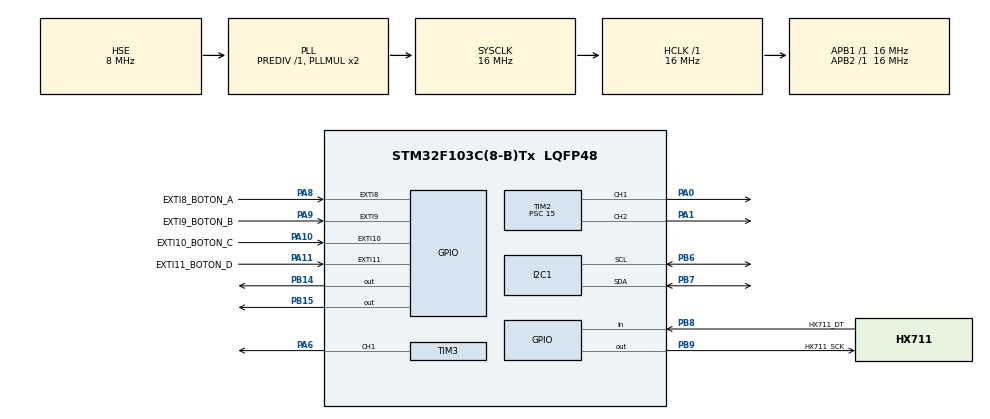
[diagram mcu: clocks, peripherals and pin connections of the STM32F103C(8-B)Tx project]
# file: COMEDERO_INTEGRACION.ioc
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Mcu.Family=STM32F1
Mcu.Name=STM32F103C(8-B)Tx
Mcu.Package=LQFP48
NVIC.EXTI15_10_IRQn=true\:1\:0\:true\:false\:true\:true\:true\:true
NVIC.EXTI9_5_IRQn=true\:1\:0\:true\:false\:true\:true\:true\:true
NVIC.PriorityGroup=NVIC_PRIORITYGROUP_4
NVIC.RTC_Alarm_IRQn=true\:1\:0\:true\:false\:true\:true\:true\:true
PA0-WKUP.Signal=S_TIM2_CH1_ETR
PA1.Signal=S_TIM2_CH2
PA10.GPIO_Label=EXTI10_BOTON_C
PA10.Signal=GPXTI10
PA11.GPIO_Label=EXTI11_BOTON_D
PA11.Signal=GPXTI11
PA13.Mode=Serial_Wire
PA13.Signal=SYS_JTMS-SWDIO
PA14.Mode=Serial_Wire
PA14.Signal=SYS_JTCK-SWCLK
PA6.Signal=S_TIM3_CH1
PA8.GPIO_Label=EXTI8_BOTON_A
PA8.GPIO_ModeDefaultEXTI=GPIO_MODE_IT_FALLING
PA8.Signal=GPXTI8
PA9.GPIO_Label=EXTI9_BOTON_B
PA9.GPIO_ModeDefaultEXTI=GPIO_MODE_IT_FALLING
PA9.Signal=GPXTI9
PB14.Signal=GPIO_Output
PB15.Signal=GPIO_Output
PB6.Mode=I2C
PB6.Signal=I2C1_SCL
PB7.Mode=I2C
PB7.Signal=I2C1_SDA
PB8.GPIO_Label=HX711_DT
PB8.Signal=GPIO_Input
PB9.GPIO_Label=HX711_SCK
PB9.Signal=GPIO_Output
PD0-OSC_IN.Mode=HSE-External-Oscillator
PD0-OSC_IN.Signal=RCC_OSC_IN
PD1-OSC_OUT.Mode=HSE-External-Oscillator
PD1-OSC_OUT.Signal=RCC_OSC_OUT
ProjectManager.HeapSize=0x200
ProjectManager.StackSize=0x400
ProjectManager.TargetToolchain=STM32CubeIDE
RCC.AHBFreq_Value=16000000
RCC.APB1Freq_Value=16000000
RCC.APB1TimFreq_Value=16000000
RCC.APB2Freq_Value=16000000
RCC.APB2TimFreq_Value=16000000
RCC.HCLKFreq_Value=16000000
RCC.PLLSourceVirtual=RCC_PLLSOURCE_HSE
RCC.SYSCLKFreq_VALUE=16000000
RCC.SYSCLKSource=RCC_SYSCLKSOURCE_PLLCLK
RCC.USBFreq_Value=16000000
SH.S_TIM2_CH1_ETR.0=TIM2_CH1,PWM Generation1 CH1
SH.S_TIM2_CH2.0=TIM2_CH2,PWM Generation2 CH2
SH.S_TIM3_CH1.0=TIM3_CH1,PWM Generation1 CH1
TIM2.Channel-PWM\ Generation1\ CH1=TIM_CHANNEL_1
TIM2.Channel-PWM\ Generation2\ CH2=TIM_CHANNEL_2
TIM2.Prescaler=15
TIM3.Channel-PWM\ Generation1\ CH1=TIM_CHANNEL_1
TIM3.Prescaler=15
VP_RTC_VS_RTC_Activate.Mode=RTC_Enabled
VP_RTC_VS_RTC_Calendar.Mode=RTC_Calendar
VP_TIM2_VS_ClockSourceINT.Mode=Internal
board=custom

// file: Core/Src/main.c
/* USER CODE BEGIN Header */
/**
  ******************************************************************************
  * @file           : main.c
  * @brief          : Main program body
  ******************************************************************************
  * @attention
  *
  * Copyright (c) 2025 STMicroelectronics.
  * All rights reserved.
  *
  * This software is licensed under terms that can be found in the LICENSE file
  * in the root directory of this software component.
  * If no LICENSE file comes with this software, it is provided AS-IS.
  *
  ******************************************************************************
  */
/* USER CODE END Header */
#include "main.h"

/* USER CODE BEGIN Includes */
#include "DC_MOTOR.h"
#include "I2C_LCD.h"
#include "HX711.h"
#include "BOTONES.h"
#include "SERVO.h"
/* USER CODE END Includes */

/* USER CODE BEGIN PD */
#define SERVO_PUERTA 0
#define SERVO_ABIERTO 180
#define SERVO_CERRADO 25
/* USER CODE END PD */

I2C_HandleTypeDef hi2c1;

RTC_HandleTypeDef hrtc;

TIM_HandleTypeDef htim2;
TIM_HandleTypeDef htim3;

/* USER CODE BEGIN PV */
Boton_HandlerTypeDef hbA;
Boton_HandlerTypeDef hbB;
Boton_HandlerTypeDef hbC;
Boton_HandlerTypeDef hbD;

hx711_t scale;

estado estados = ESTADO_INICIANDO;
Motor_speeds velocidad_motor = NORMAL_SPEED;

RTC_TimeTypeDef displayTime;
RTC_TimeTypeDef rtcTime;

flag flag_debug = FLAG_INACTIVA;

flag flag_iniciar_motor = FLAG_INACTIVA;
flag flag_detener_motor = FLAG_INACTIVA;
flag flag_boton_a_presionado = FLAG_INACTIVA;
flag flag_boton_b_presionado = FLAG_INACTIVA;
flag flag_boton_c_presionado = FLAG_INACTIVA;
flag flag_boton_d_presionado = FLAG_INACTIVA;
flag flag_cambiar_hora = FLAG_INACTIVA;
flag flag_alarma_activada = FLAG_INACTIVA;
flag flag_cerrar_puerta = FLAG_INACTIVA;
flag flag_contador = FLAG_INACTIVA;
flag flag_paleta_atascada = FLAG_INACTIVA;

/* USER CODE END PV */

void SystemClock_Config(void);
static void MX_GPIO_Init(void);
static void MX_TIM2_Init(void);
static void MX_RTC_Init(void);
static void MX_I2C1_Init(void);
static void MX_TIM3_Init(void);

int main(void)
{

  /* USER CODE BEGIN 1 */

  subestados_menus estado_menu = CONFIGURACION_IDLE;
  int32_t dosis_objetivo = 0;
  uint8_t contador = 0;
  int32_t peso_anterior = 0;
  uint8_t dir_motor = DIR_CW;
  /* USER CODE END 1 */

  /* MCU Configuration--------------------------------------------------------*/

  /* Reset of all peripherals, Initializes the Flash interface and the Systick. */
  HAL_Init();

  /* Configure the system clock */
  SystemClock_Config();

  /* Initialize all configured peripherals */
  MX_GPIO_Init();
  MX_TIM2_Init();
  MX_RTC_Init();
  MX_I2C1_Init();
  MX_TIM3_Init();
  /* USER CODE BEGIN 2 */
  DC_MOTOR_Init(MOTOR_DOSIFICADOR);
  SERVO_Init(SERVO_PUERTA);
  SERVO_Timer3_Init_1usTicks();

  I2C_LCD_Init(I2C_LCD_1);
  Boton_init(&hbA, EXTI8_BOTON_A_GPIO_Port, EXTI8_BOTON_A_Pin);
  Boton_init(&hbB, EXTI9_BOTON_B_GPIO_Port, EXTI9_BOTON_B_Pin);
  Boton_init(&hbC, EXTI10_BOTON_C_GPIO_Port, EXTI10_BOTON_C_Pin);
  Boton_init(&hbD, EXTI11_BOTON_D_GPIO_Port, EXTI11_BOTON_D_Pin);

  HX711_Construct(&scale, GPIOB, GPIO_PIN_8, GPIOB, GPIO_PIN_9, &htim2, 1000);
  HX711_InitPins(&scale);

  scale.tare = 101362;
  scale.known_counts_per_mg = 385;

  I2C_LCD_SetCursor(I2C_LCD_1, 0, 0);
  I2C_LCD_WriteString(I2C_LCD_1, "AAA");

  HAL_RTC_GetTime(&hrtc, &displayTime, RTC_FORMAT_BIN);
  HAL_RTC_GetTime(&hrtc, &rtcTime, RTC_FORMAT_BIN);

  //SERVO_MoveTo(SERVO_PUERTA, 180);
  /* USER CODE END 2 */

  /* Infinite loop */
  /* USER CODE BEGIN WHILE */
  estados = ESTADO_IDLE;
  flag_debug = FLAG_INACTIVA;

  SERVO_MoveTo(SERVO_PUERTA, SERVO_ABIERTO);

  I2C_LCD_SetCursor(I2C_LCD_1, 0, 0);
  I2C_LCD_WriteString(I2C_LCD_1, "Hora actual:");
  I2C_LCD_SetCursor(I2C_LCD_1, 0, 2);
  I2C_LCD_WriteString(I2C_LCD_1, "A: Configuracion");
  I2C_LCD_SetCursor(I2C_LCD_1, 0, 3);
  I2C_LCD_WriteString(I2C_LCD_1, "B: Agregar comida");
  // uint16_t PULSE = SERVO_Get_MinPulse(SERVO_NUM); // 22528
  // PULSE = SERVO_Get_MaxPulse(SERVO_NUM); // 16384

  while (1)
  {

	HX711_Process(&scale);
	  // Revisar y setear flags.
	HAL_RTC_GetTime(&hrtc, &rtcTime, RTC_FORMAT_BIN);
	if(displayTime.Seconds != rtcTime.Seconds)
	{
		flag_cambiar_hora = FLAG_ACTIVA;
	}

	if(hbA.FLAG_EVENTO == 1)
	{
		hbA.FLAG_EVENTO = 0;
		flag_boton_a_presionado = FLAG_ACTIVA;
	}

	if(hbB.FLAG_EVENTO == 1)
	{
		hbB.FLAG_EVENTO = 0;
		flag_boton_b_presionado = FLAG_ACTIVA;
	}

	if(hbC.FLAG_EVENTO == 1)
	{
		hbC.FLAG_EVENTO = 0;
		flag_boton_c_presionado = FLAG_ACTIVA;
	}

	if(hbD.FLAG_EVENTO == 1)
	{
		hbD.FLAG_EVENTO = 0;
		flag_boton_d_presionado = FLAG_ACTIVA;
	}

	if(flag_alarma_activada)
	{
		flag_iniciar_motor = FLAG_ACTIVA;
		flag_alarma_activada = FLAG_INACTIVA;
	}

	if(estados == ESTADO_DOSIFICANDO_ALIMENTO) // polling :(
	{
		int32_t temp = peso_anterior;
		peso_anterior = HX711_WeighBlocking(&scale);
		if(temp + 6000 >= peso_anterior && temp - 6000 <= peso_anterior)
		{
			contador++;
		}else if(flag_paleta_atascada)
		{
			flag_paleta_atascada = FLAG_INACTIVA;
		}

		if( peso_anterior >= dosis_objetivo * 1000)
		{
			flag_detener_motor = FLAG_ACTIVA;
		}
	}

	if(contador >= 10)
	{
		flag_contador = FLAG_ACTIVA;
	}

	if(estados == ESTADO_ALIMENTO_SERVIDO && displayTime.Minutes >= 3)
	{
		if(HX711_WeighBlocking(&scale) <= 0 || displayTime.Minutes >= 10)
		{
			flag_cerrar_puerta = FLAG_ACTIVA;
		}

	}

    /* USER CODE END WHILE */

    /* USER CODE BEGIN 3 */

	  // Maquina de estados.

	  switch(estados)
	  {
	  	  case ESTADO_IDLE:
	  		  if(flag_debug)
	  		  {
	  			  estados = ESTADO_DEBUG;
	  			  flag_debug = FLAG_INACTIVA;
	  		  }

	  		  if(flag_iniciar_motor)
	  		  {
	  			  estados = ESTADO_DOSIFICANDO_ALIMENTO;
	  			  velocidad_motor = LOW_SPEED;
	  			  DC_MOTOR_Start(MOTOR_DOSIFICADOR, dir_motor, velocidad_motor);
	  			  SERVO_MoveTo(SERVO_PUERTA, SERVO_CERRADO);
	  			  I2C_LCD_Clear(I2C_LCD_1);
	  			  I2C_LCD_SetCursor(I2C_LCD_1, 0, 0);
	  			  I2C_LCD_WriteString(I2C_LCD_1, "Sirviendo");
	  			  I2C_LCD_SetCursor(I2C_LCD_1, 0, 1);
	  			  I2C_LCD_WriteString(I2C_LCD_1, "alimento...");
	  			  I2C_LCD_SetCursor(I2C_LCD_1, 0, 2);
	  			  I2C_LCD_WriteString(I2C_LCD_1, "A: Detener");

	  			  flag_iniciar_motor = FLAG_INACTIVA;
	  		  }

	  		  if(flag_cambiar_hora)
	  		  {
	  			  displayTime = rtcTime;
	  			  I2C_LCD_WriteTime(I2C_LCD_1, displayTime);
	  			  flag_cambiar_hora = FLAG_INACTIVA;
	  		  }

	  		  if(flag_boton_a_presionado) // LISTO
	  		  {
	  			  estados = ESTADO_CONFIGURACION;
	  			  estado_menu = CONFIGURACION_IDLE;
	  			  flag_boton_a_presionado = FLAG_INACTIVA;
	  			  I2C_LCD_Clear(I2C_LCD_1);
	  			  I2C_LCD_SetCursor(I2C_LCD_1, 0, 0);
	  			  I2C_LCD_WriteString(I2C_LCD_1, "A: Cambiar hora.");
	  			  I2C_LCD_SetCursor(I2C_LCD_1, 0, 1);
	  			  I2C_LCD_WriteString(I2C_LCD_1, "B: Regular balanza.");
	  			  I2C_LCD_SetCursor(I2C_LCD_1, 0, 2);
	  			  I2C_LCD_WriteString(I2C_LCD_1, "C: Probar motor.");
	  			  I2C_LCD_SetCursor(I2C_LCD_1, 0, 3);
	  			  I2C_LCD_WriteString(I2C_LCD_1, "D: Siguiente");
	  		  }

	  		  if(flag_boton_b_presionado) // LISTO?
	  		  {
	  			  estados = ESTADO_AGREGAR_ALIMENTO;
	  			  flag_boton_b_presionado = FLAG_INACTIVA;
	  			  estado_menu = AGREGAR_TIEMPO;
	  			  I2C_LCD_Clear(I2C_LCD_1);
	  			  I2C_LCD_SetCursor(I2C_LCD_1, 0, 0);
	  			  I2C_LCD_WriteString(I2C_LCD_1, "Hora objetivo:");
	  			  I2C_LCD_WriteTime(I2C_LCD_1, displayTime);
	  			  I2C_LCD_SetCursor(I2C_LCD_1, 0, 2);
	  			  I2C_LCD_WriteString(I2C_LCD_1, "A: +1m | B: -1m");
	  			  I2C_LCD_SetCursor(I2C_LCD_1, 0, 3);
	  			  I2C_LCD_WriteString(I2C_LCD_1, "C: Escala | D: ->");
	  		  }

	  		  break;
	  	  case ESTADO_AGREGAR_ALIMENTO:
	  		  switch(estado_menu)
	  		  {
	  		  case AGREGAR_IDLE:
	  			  break;
	  		  case AGREGAR_TIEMPO:
	  			  if(flag_boton_a_presionado)
	  			  {
	  				if(displayTime.Minutes < 59)
	  				{
	  					displayTime.Minutes++;
	  				}else if(displayTime.Hours < 23)
	  				{
	  					displayTime.Minutes = 0;
	  					displayTime.Hours++;
	  				}else{
	  					displayTime.Minutes = 0;
	  					displayTime.Hours = 0;
	  				}
	  				I2C_LCD_WriteTime(I2C_LCD_1, displayTime);
	  				flag_boton_a_presionado = FLAG_INACTIVA;
	  			  }
	  			  if(flag_boton_b_presionado)
	  			  {
	  				if(displayTime.Minutes > 0)
	  				{
	  					displayTime.Minutes--;
	  				}else if(displayTime.Hours > 0)
	  				{
	  					displayTime.Minutes = 59;
	  					displayTime.Hours--;
	  				}else
	  				{
	  					displayTime.Minutes = 59;
	  					displayTime.Hours = 23;
	  				}
	  				I2C_LCD_WriteTime(I2C_LCD_1, displayTime);
	  				flag_boton_b_presionado = FLAG_INACTIVA;
	  			  }
	  			  if(flag_boton_c_presionado)
	  			  {
	  				  I2C_LCD_Clear(I2C_LCD_1);
		  			  I2C_LCD_SetCursor(I2C_LCD_1, 0, 0);
		  			  I2C_LCD_WriteString(I2C_LCD_1, "Hora objetivo:");
		  			  I2C_LCD_WriteTime(I2C_LCD_1, displayTime);
		  			  I2C_LCD_SetCursor(I2C_LCD_1, 0, 2);
		  			  I2C_LCD_WriteString(I2C_LCD_1, "A: +1h | B: -1h");
		  			  I2C_LCD_SetCursor(I2C_LCD_1, 0, 3);
		  			  I2C_LCD_WriteString(I2C_LCD_1, "C: Escala | D: ->");
		  			  estado_menu = AGREGAR_TIEMPO_HORAS;
	  				  flag_boton_c_presionado = FLAG_INACTIVA;
	  			  }
	  			  if(flag_boton_d_presionado)
	  			  {
	  				  dosis_objetivo = 0;
	  				  I2C_LCD_Clear(I2C_LCD_1);
	  				  I2C_LCD_SetCursor(I2C_LCD_1, 0, 0);
	  				  I2C_LCD_WriteString(I2C_LCD_1, "Dosis objetivo:");
	  				  I2C_LCD_SetCursor(I2C_LCD_1, 0, 1);
	  				  I2C_LCD_WriteString(I2C_LCD_1, "0 mg");
		  			  I2C_LCD_SetCursor(I2C_LCD_1, 0, 2);
		  			  I2C_LCD_WriteString(I2C_LCD_1, "A: +22g | B: -22g");
		  			  I2C_LCD_SetCursor(I2C_LCD_1, 0, 3);
		  			  I2C_LCD_WriteString(I2C_LCD_1, "C: <- | D: ->");
	  				  estado_menu = AGREGAR_DOSIS;
	  				  flag_boton_d_presionado = FLAG_INACTIVA;
	  			  }
	  			  break;
	  		  case AGREGAR_TIEMPO_HORAS:
	  			  if(flag_boton_a_presionado)
	  			  {
	  				if(displayTime.Hours < 23)
	  				{
	  					displayTime.Hours++;
	  				}else{
	  					displayTime.Hours = 0;
	  				}
	  				I2C_LCD_WriteTime(I2C_LCD_1, displayTime);
	  				flag_boton_a_presionado = FLAG_INACTIVA;
	  			  }
	  			  if(flag_boton_b_presionado)
	  			  {
	  				if(displayTime.Hours > 0)
	  				{
	  					displayTime.Hours--;
	  				}else
	  				{
	  					displayTime.Hours = 23;
	  				}
	  				I2C_LCD_WriteTime(I2C_LCD_1, displayTime);
	  				flag_boton_b_presionado = FLAG_INACTIVA;
	  			  }
	  			  if(flag_boton_c_presionado)
	  			  {
	  				  I2C_LCD_Clear(I2C_LCD_1);
		  			  I2C_LCD_SetCursor(I2C_LCD_1, 0, 0);
		  			  I2C_LCD_WriteString(I2C_LCD_1, "Hora objetivo:");
		  			  I2C_LCD_WriteTime(I2C_LCD_1, displayTime);
		  			  I2C_LCD_SetCursor(I2C_LCD_1, 0, 2);
		  			  I2C_LCD_WriteString(I2C_LCD_1, "A: +1m | B: -1m");
		  			  I2C_LCD_SetCursor(I2C_LCD_1, 0, 3);
		  			  I2C_LCD_WriteString(I2C_LCD_1, "C: Escala | D: ->");
		  			  estado_menu = AGREGAR_TIEMPO;
	  				  flag_boton_c_presionado = FLAG_INACTIVA;
	  			  }
	  			  if(flag_boton_d_presionado)
	  			  {
	  				  dosis_objetivo = 0;
	  				  I2C_LCD_Clear(I2C_LCD_1);
	  				  I2C_LCD_SetCursor(I2C_LCD_1, 0, 0);
	  				  I2C_LCD_WriteString(I2C_LCD_1, "Dosis objetivo:");
	  				  I2C_LCD_SetCursor(I2C_LCD_1, 0, 1);
	  				  I2C_LCD_WriteString(I2C_LCD_1, "0 g");
		  			  I2C_LCD_SetCursor(I2C_LCD_1, 0, 2);
		  			  I2C_LCD_WriteString(I2C_LCD_1, "A: +22g | B: -22g");
		  			  I2C_LCD_SetCursor(I2C_LCD_1, 0, 3);
		  			  I2C_LCD_WriteString(I2C_LCD_1, "C: <- | D: ->");
	  				  estado_menu = AGREGAR_DOSIS;
	  				  flag_boton_d_presionado = FLAG_INACTIVA;
	  			  }
	  			  break;
	  		  case AGREGAR_DOSIS:
	  			  if(flag_boton_a_presionado)
	  			  {
	  				dosis_objetivo += 22;
	  				I2C_LCD_SetCursor(I2C_LCD_1, 0, 1);
	  				I2C_LCD_WriteInt32(I2C_LCD_1, (int32_t)dosis_objetivo);
	  				I2C_LCD_WriteString(I2C_LCD_1, " g");
	  				flag_boton_a_presionado = FLAG_INACTIVA;
	  			  }
	  			  if(flag_boton_b_presionado)
	  			  {
	  				dosis_objetivo -= 22;
	  				I2C_LCD_SetCursor(I2C_LCD_1, 0, 1);
	  				I2C_LCD_WriteInt32(I2C_LCD_1, (int32_t)dosis_objetivo);
	  				I2C_LCD_WriteString(I2C_LCD_1, " g");
	  				flag_boton_b_presionado = FLAG_INACTIVA;
	  			  }
	  			  if(flag_boton_c_presionado)
	  			  {
		  			  estado_menu = AGREGAR_TIEMPO;
		  			  I2C_LCD_Clear(I2C_LCD_1);
		  			  I2C_LCD_SetCursor(I2C_LCD_1, 0, 0);
		  			  I2C_LCD_WriteString(I2C_LCD_1, "Hora objetivo:");
		  			  I2C_LCD_WriteTime(I2C_LCD_1, displayTime);
		  			  I2C_LCD_SetCursor(I2C_LCD_1, 0, 2);
		  			  I2C_LCD_WriteString(I2C_LCD_1, "A: +1m | B: -1m");
		  			  I2C_LCD_SetCursor(I2C_LCD_1, 0, 3);
		  			  I2C_LCD_WriteString(I2C_LCD_1, "C: Escala | D: ->");
	  				flag_boton_c_presionado = FLAG_INACTIVA;
	  			  }
	  			  if(flag_boton_d_presionado)
	  			  {
	  				  estado_menu = AGREGAR_CONFIRMACION;
	  				  I2C_LCD_Clear(I2C_LCD_1);
	  				  I2C_LCD_SetCursor(I2C_LCD_1, 0, 0);
	  				  I2C_LCD_WriteString(I2C_LCD_1, "Hora de comida:");
	  				  I2C_LCD_WriteTime(I2C_LCD_1, displayTime);
	  				  I2C_LCD_SetCursor(I2C_LCD_1, 0, 2);
	  				  I2C_LCD_WriteString(I2C_LCD_1, "Dosis: ");
	  				  I2C_LCD_WriteInt32(I2C_LCD_1, dosis_objetivo);
	  				  I2C_LCD_WriteString(I2C_LCD_1, " g");
	  				  I2C_LCD_SetCursor(I2C_LCD_1, 0, 3);
	  				  I2C_LCD_WriteString(I2C_LCD_1, "C: <- | D: Ok");
	  				  flag_boton_d_presionado = FLAG_INACTIVA;
	  			  }
	  			  break;
	  		  case AGREGAR_CONFIRMACION:
	  			  if(flag_boton_a_presionado)
	  			  {
	  				  flag_boton_a_presionado = FLAG_INACTIVA;
	  			  }
	  			  if(flag_boton_b_presionado)
	  			  {
	  				  flag_boton_b_presionado = FLAG_INACTIVA;
	  			  }
	  			  if(flag_boton_c_presionado)
	  			  {
	  				  estado_menu = AGREGAR_DOSIS;
	  				  dosis_objetivo = 0;
	  				  I2C_LCD_Clear(I2C_LCD_1);
	  				  I2C_LCD_SetCursor(I2C_LCD_1, 0, 0);
	  				  I2C_LCD_WriteString(I2C_LCD_1, "Dosis objetivo:");
	  				  I2C_LCD_SetCursor(I2C_LCD_1, 0, 1);
	  				  I2C_LCD_WriteString(I2C_LCD_1, "0 g");
		  			  I2C_LCD_SetCursor(I2C_LCD_1, 0, 2);
		  			  I2C_LCD_WriteString(I2C_LCD_1, "A: +22g | B: -22g");
		  			  I2C_LCD_SetCursor(I2C_LCD_1, 0, 3);
		  			  I2C_LCD_WriteString(I2C_LCD_1, "C: <- | D: ->");
	  				  flag_boton_c_presionado = FLAG_INACTIVA;
	  			  }
	  			  if(flag_boton_d_presionado)
	  			  {
	  				  RTC_AlarmTypeDef comida = {0};
	  				  comida.AlarmTime = displayTime;
	  				  comida.Alarm = RTC_ALARM_A;
	  				  HAL_RTC_SetAlarm_IT(&hrtc, &comida, RTC_FORMAT_BIN);
	  				  I2C_LCD_Clear(I2C_LCD_1);
	  				  I2C_LCD_SetCursor(I2C_LCD_1, 0, 0);
	  				  I2C_LCD_WriteString(I2C_LCD_1, "Hora actual:");
	  				  I2C_LCD_SetCursor(I2C_LCD_1, 0, 2);
	  				  I2C_LCD_WriteString(I2C_LCD_1, "A: Configuracion");
	  				  I2C_LCD_SetCursor(I2C_LCD_1, 0, 3);
	  				  I2C_LCD_WriteString(I2C_LCD_1, "B: Agregar comida");
	  				  estado_menu = AGREGAR_IDLE;
	  				  estados = ESTADO_IDLE;

	  				  flag_boton_d_presionado = FLAG_INACTIVA;
	  			  }
	  			  break;
	  		  }
	  		  break;
	  	  case ESTADO_DOSIFICANDO_ALIMENTO:
	  		  if(flag_detener_motor)
	  		  {
	  			  displayTime.Hours = 0;
	  			  displayTime.Minutes = 0;
	  			  displayTime.Seconds = 0;
	  			  I2C_LCD_Clear(I2C_LCD_1);
	  			  I2C_LCD_SetCursor(I2C_LCD_1, 0, 0);
	  			  I2C_LCD_WriteString(I2C_LCD_1, "Alimento servido!");
	  			  I2C_LCD_WriteTime(I2C_LCD_1, displayTime);
	  			  SERVO_MoveTo(SERVO_PUERTA, SERVO_ABIERTO);
	  			  DC_MOTOR_Stop(MOTOR_DOSIFICADOR);
	  			  estados = ESTADO_ALIMENTO_SERVIDO;
	  			  flag_detener_motor = FLAG_INACTIVA;
	  		  }

	  		  if(flag_contador)
	  		  {
	  			  contador = 0;

	  			  if(dir_motor == DIR_CW)
	  			  {
	  				  dir_motor = DIR_CCW;
	  			  }else{
	  				  dir_motor = DIR_CW;
	  			  }

	  			  DC_MOTOR_Set_Dir(MOTOR_DOSIFICADOR, dir_motor);

	  			  flag_contador = FLAG_INACTIVA;
	  			  flag_paleta_atascada = FLAG_ACTIVA;
	  			  DC_MOTOR_Acelerar(MOTOR_DOSIFICADOR, &velocidad_motor);
	  		  }

	  		  if(!flag_paleta_atascada)
	  		  {
		  		  DC_MOTOR_Ajustar_velocidad(MOTOR_DOSIFICADOR, &velocidad_motor, &peso_anterior, dosis_objetivo * 1000);
	  		  }

	  		  /*if(flag_boton_d_presionado)
	  		  {
	  			  flag_detener_motor = FLAG_ACTIVA;
	  			  flag_boton_d_presionado = FLAG_INACTIVA;
	  		  }*/

	  		  break;
	  	  case ESTADO_ALIMENTO_SERVIDO:
	  		  if(flag_cambiar_hora)
	  		  {
  				  if(displayTime.Seconds < 59)
  				  {
  					  displayTime.Seconds++;
  				  }else if(displayTime.Minutes < 59)
  				  {
  					  displayTime.Seconds = 0;
  					  displayTime.Minutes++;
  				  }else if(displayTime.Hours < 23)
  				  {
  					  displayTime.Seconds = 0;
  					  displayTime.Minutes = 0;
  					  displayTime.Hours++;
  				  }else{
  					  displayTime.Seconds = 0;
  					  displayTime.Minutes = 0;
  					  displayTime.Hours = 0;
  				  }
  				  I2C_LCD_WriteTime(I2C_LCD_1, displayTime);
	  			  flag_cambiar_hora = FLAG_INACTIVA;
	  		  }

	  		  if(flag_cerrar_puerta)
	  		  {
	  			  displayTime = rtcTime;
	  			  I2C_LCD_Clear(I2C_LCD_1);
	  			  I2C_LCD_SetCursor(I2C_LCD_1, 0, 0);
	  			  I2C_LCD_WriteString(I2C_LCD_1, "Hora actual:");
	  			  I2C_LCD_WriteTime(I2C_LCD_1, displayTime);
	  			  I2C_LCD_SetCursor(I2C_LCD_1, 0, 2);
	  			  I2C_LCD_WriteString(I2C_LCD_1, "A: Configuracion");
	  			  I2C_LCD_SetCursor(I2C_LCD_1, 0, 3);
	  			  I2C_LCD_WriteString(I2C_LCD_1, "B: Agregar comida");
	  			  estados = ESTADO_IDLE;
	  			  flag_cerrar_puerta = FLAG_INACTIVA;
	  		  }

	  		  break;
	  	  case ESTADO_CONFIGURACION:
	  		  switch(estado_menu)
	  		  {
	  		  case CONFIGURACION_IDLE: // LISTO
	  			  if(flag_boton_a_presionado) // LISTO
	  			  {
	  				  displayTime.Seconds = 0;
		  			  I2C_LCD_Clear(I2C_LCD_1);
		  			  I2C_LCD_SetCursor(I2C_LCD_1, 0, 0);
		  			  I2C_LCD_WriteString(I2C_LCD_1, "Hora actual:");
		  			  I2C_LCD_WriteTime(I2C_LCD_1, displayTime);
		  			  I2C_LCD_SetCursor(I2C_LCD_1, 0, 2);
		  			  I2C_LCD_WriteString(I2C_LCD_1, "A: +1m | B: -1m");
		  			  I2C_LCD_SetCursor(I2C_LCD_1, 0, 3);
		  			  I2C_LCD_WriteString(I2C_LCD_1, "C: Guardar");
		  			  estado_menu = CONFIGURACION_CAMBIAR_HORA;
	  				  flag_boton_a_presionado = FLAG_INACTIVA;
	  			  }
	  			  if(flag_boton_b_presionado) // LISTO
	  			  {
	  				  I2C_LCD_Clear(I2C_LCD_1);
	  				  I2C_LCD_SetCursor(I2C_LCD_1, 0, 0);
	  				  I2C_LCD_WriteString(I2C_LCD_1, "Peso: ");
	  				  I2C_LCD_WriteInt32(I2C_LCD_1, HX711_WeighBlocking(&scale) / 1000);
	  				  I2C_LCD_WriteString(I2C_LCD_1, " g");
	  				  I2C_LCD_SetCursor(I2C_LCD_1, 0, 1);
	  				  I2C_LCD_WriteString(I2C_LCD_1, "Tara: ");
	  				  I2C_LCD_WriteInt32(I2C_LCD_1, scale.tare / 1000);
	  				  I2C_LCD_WriteString(I2C_LCD_1, " g");
	  				  I2C_LCD_SetCursor(I2C_LCD_1, 0, 2);
	  				  I2C_LCD_WriteString(I2C_LCD_1, "A: +1g | B: -1g");
		  			  I2C_LCD_SetCursor(I2C_LCD_1, 0, 3);
		  			  I2C_LCD_WriteString(I2C_LCD_1, "C: Guardar");
	  				  estado_menu = CONFIGURACION_BALANZA;
	  				  flag_boton_b_presionado = FLAG_INACTIVA;
	  			  }
	  			  if(flag_boton_c_presionado) // LISTO
	  			  {
	  				  velocidad_motor = 0;
	  				  I2C_LCD_Clear(I2C_LCD_1);
	  				  I2C_LCD_SetCursor(I2C_LCD_1, 0, 0);
	  				  I2C_LCD_WriteString(I2C_LCD_1, "Velocidad del motor:");
	  				  I2C_LCD_SetCursor(I2C_LCD_1, 0, 1);
	  				  I2C_LCD_WriteString(I2C_LCD_1, "Detenido");
	  				  I2C_LCD_SetCursor(I2C_LCD_1, 0, 2);
	  				  I2C_LCD_WriteString(I2C_LCD_1, "A: +vel | B: -vel");
	  				  I2C_LCD_SetCursor(I2C_LCD_1, 0, 3);
	  				  I2C_LCD_WriteString(I2C_LCD_1, "C: Volver");
	  				  estado_menu = CONFIGURACION_PROBAR_MOTOR;
	  				  flag_boton_c_presionado = FLAG_INACTIVA;
	  			  }
	  			  if(flag_boton_d_presionado) // LISTO
	  			  {
	  				  I2C_LCD_Clear(I2C_LCD_1);
	  				  I2C_LCD_SetCursor(I2C_LCD_1, 0, 0);
	  				  I2C_LCD_WriteString(I2C_LCD_1, "A: Probar Servo");
	  				  I2C_LCD_SetCursor(I2C_LCD_1, 0, 1);
	  				  I2C_LCD_WriteString(I2C_LCD_1, "B: Probar barreras IR");
	  				  I2C_LCD_SetCursor(I2C_LCD_1, 0, 2);
	  				  I2C_LCD_WriteString(I2C_LCD_1, "C: Volver atras");
	  				  I2C_LCD_SetCursor(I2C_LCD_1, 0, 3);
	  				  I2C_LCD_WriteString(I2C_LCD_1, "D: Salir");
	  				  estado_menu = CONFIGURACION_IDLE2;
	  				  flag_boton_d_presionado = FLAG_INACTIVA;
	  			  }
	  			  break;
	  		  case CONFIGURACION_IDLE2:
	  			  if(flag_boton_a_presionado)
	  			  {
	  				  I2C_LCD_Clear(I2C_LCD_1);
	  				  I2C_LCD_SetCursor(I2C_LCD_1, 0, 0);
	  				  I2C_LCD_WriteString(I2C_LCD_1, "Probar servo:");
	  				  I2C_LCD_SetCursor(I2C_LCD_1, 0, 1);
	  				  I2C_LCD_WriteString(I2C_LCD_1, "Estado: ?");
	  				  I2C_LCD_SetCursor(I2C_LCD_1, 0, 2);
	  				  I2C_LCD_WriteString(I2C_LCD_1, "A: Abrir | B: Cerrar");
	  				  I2C_LCD_SetCursor(I2C_LCD_1, 0, 3);
	  				  I2C_LCD_WriteString(I2C_LCD_1, "C: Volver");
	  				  estado_menu =	CONFIGURACION_SERVO;
	  				  flag_boton_a_presionado = FLAG_INACTIVA;
	  			  }
	  			  if(flag_boton_b_presionado)
	  			  {
	  				  estado_menu = CONFIGURACION_BARRERA_IR;
	  				  flag_boton_b_presionado = FLAG_INACTIVA;
	  			  }
	  			  if(flag_boton_c_presionado) // LISTO
	  			  {
	  				  I2C_LCD_Clear(I2C_LCD_1);
	  				  I2C_LCD_SetCursor(I2C_LCD_1, 0, 0);
	  				  I2C_LCD_WriteString(I2C_LCD_1, "A: Cambiar hora.");
	  				  I2C_LCD_SetCursor(I2C_LCD_1, 0, 1);
	  				  I2C_LCD_WriteString(I2C_LCD_1, "B: Regular balanza.");
	  				  I2C_LCD_SetCursor(I2C_LCD_1, 0, 2);
	  				  I2C_LCD_WriteString(I2C_LCD_1, "C: Probar motor.");
	  				  I2C_LCD_SetCursor(I2C_LCD_1, 0, 3);
	  				  I2C_LCD_WriteString(I2C_LCD_1, "D: Siguiente");
	  				  estado_menu = CONFIGURACION_IDLE;
	  				  flag_boton_c_presionado = FLAG_INACTIVA;
	  			  }
	  			  if(flag_boton_d_presionado) // LISTO
	  			  {
	  				  displayTime = rtcTime;
		  			  I2C_LCD_Clear(I2C_LCD_1);
		  			  I2C_LCD_SetCursor(I2C_LCD_1, 0, 0);
		  			  I2C_LCD_WriteString(I2C_LCD_1, "Hora actual:");
	  				  HAL_RTC_SetTime(&hrtc, &displayTime, RTC_FORMAT_BIN);
	  				  I2C_LCD_SetCursor(I2C_LCD_1, 0, 2);
	  				  I2C_LCD_WriteString(I2C_LCD_1, "A: Configuracion");
	  				  I2C_LCD_SetCursor(I2C_LCD_1, 0, 3);
	  				  I2C_LCD_WriteString(I2C_LCD_1, "B: Agregar comida");
	  				  estado_menu = CONFIGURACION_IDLE;
	  				  estados = ESTADO_IDLE;
	  				  flag_boton_d_presionado = FLAG_INACTIVA;
	  			  }
	  			  break;
	  		  case CONFIGURACION_CAMBIAR_HORA: // LISTO
	  			  if(flag_boton_a_presionado) // LISTO
	  			  {
	  				  /*if(displayTime.Seconds < 59)
	  				  {
	  					  displayTime.Seconds++;
	  				  }else*/ if(displayTime.Minutes < 59)
	  				  {
	  					  // displayTime.Seconds = 0;
	  					  displayTime.Minutes++;
	  				  }else if(displayTime.Hours < 23)
	  				  {
	  					  displayTime.Minutes = 0;
	  					  displayTime.Hours++;
	  				  }else{
	  					  displayTime.Minutes = 0;
	  					  displayTime.Hours = 0;
	  				  }
	  				  I2C_LCD_WriteTime(I2C_LCD_1, displayTime);
	  				  flag_boton_a_presionado = FLAG_INACTIVA;
	  			  }
	  			  if(flag_boton_b_presionado) // LISTO
	  			  {
	  				  if(displayTime.Minutes > 0)
	  				  {
	  					  displayTime.Minutes--;
	  				  }else if(displayTime.Hours > 0)
	  				  {
	  					  displayTime.Minutes = 59;
	  					  displayTime.Hours--;
	  				  }else
	  				  {
	  					  displayTime.Minutes = 59;
	  					  displayTime.Hours = 23;
	  				  }
	  				  I2C_LCD_WriteTime(I2C_LCD_1, displayTime);
	  				  flag_boton_b_presionado = FLAG_INACTIVA;

	  			  }
	  			  if(flag_boton_c_presionado) // LISTO
	  			  {
	  				  HAL_RTC_SetTime(&hrtc, &displayTime, RTC_FORMAT_BIN);
	  				  I2C_LCD_SetCursor(I2C_LCD_1, 0, 2);
	  				  I2C_LCD_WriteString(I2C_LCD_1, "A: Configuracion");
	  				  I2C_LCD_SetCursor(I2C_LCD_1, 0, 3);
	  				  I2C_LCD_WriteString(I2C_LCD_1, "B: Agregar comida");
	  				  flag_boton_c_presionado = FLAG_INACTIVA;
	  				  estado_menu = CONFIGURACION_IDLE;
	  				  estados = ESTADO_IDLE;
	  			  }
	  			  break;
	  		  case CONFIGURACION_PROBAR_MOTOR: // LISTO, INVESTIGAR PORQUE SE PARA EN RAPIDO
	  			  if(flag_boton_a_presionado) // LISTO
	  			  {
	  				  DC_MOTOR_Acelerar(MOTOR_DOSIFICADOR, &velocidad_motor);
	  				  I2C_LCD_SetCursor(I2C_LCD_1, 0, 1);
	  				  I2C_LCD_WriteString(I2C_LCD_1, "                  ");
	  				  I2C_LCD_SetCursor(I2C_LCD_1, 0, 1);
	  				  switch(velocidad_motor)
	  				  {
	  				  case 0:
		  				  I2C_LCD_WriteString(I2C_LCD_1, "Detenido");
	  					  break;
	  				  case LOW_SPEED:
		  				  I2C_LCD_WriteString(I2C_LCD_1, "Lento");
	  					  break;
	  				  case LOW_SPEED_PLUS:
		  				  I2C_LCD_WriteString(I2C_LCD_1, "Lento+");
	  					  break;
	  				  case NORMAL_SPEED:
		  				  I2C_LCD_WriteString(I2C_LCD_1, "Normal");
	  					  break;
	  				  case NORMAL_SPEED_PLUS:
		  				  I2C_LCD_WriteString(I2C_LCD_1, "Normal+");
	  					  break;
	  				  case HIGH_SPEED:
		  				  I2C_LCD_WriteString(I2C_LCD_1, "Rapido");
	  					  break;
	  				  case HIGH_SPEED_PLUS:
		  				  I2C_LCD_WriteString(I2C_LCD_1, "Rapido+");
	  					  break;
	  				  default:
	  					  break;
	  				  }

	  				  flag_boton_a_presionado = FLAG_INACTIVA;
	  			  }

	  			  if(flag_boton_b_presionado) // LISTO
	  			  {
	  				  DC_MOTOR_Frenar(MOTOR_DOSIFICADOR, &velocidad_motor);
	  				  I2C_LCD_SetCursor(I2C_LCD_1, 0, 1);
	  				  I2C_LCD_WriteString(I2C_LCD_1, "                  ");
	  				  I2C_LCD_SetCursor(I2C_LCD_1, 0, 1);
	  				  switch(velocidad_motor)
	  				  {
	  				  case 0:
		  				  I2C_LCD_WriteString(I2C_LCD_1, "Detenido");
	  					  break;
	  				  case LOW_SPEED:
		  				  I2C_LCD_WriteString(I2C_LCD_1, "Lento");
	  					  break;
	  				  case LOW_SPEED_PLUS:
		  				  I2C_LCD_WriteString(I2C_LCD_1, "Lento+");
	  					  break;
	  				  case NORMAL_SPEED:
		  				  I2C_LCD_WriteString(I2C_LCD_1, "Normal");
	  					  break;
	  				  case NORMAL_SPEED_PLUS:
		  				  I2C_LCD_WriteString(I2C_LCD_1, "Normal+");
	  					  break;
	  				  case HIGH_SPEED:
		  				  I2C_LCD_WriteString(I2C_LCD_1, "Rapido");
	  					  break;
	  				  case HIGH_SPEED_PLUS:
		  				  I2C_LCD_WriteString(I2C_LCD_1, "Rapido+");
	  					  break;
	  				  default:
	  					  break;
	  				  }

	  				  flag_boton_b_presionado = FLAG_INACTIVA;
	  			  }

	  			  if(flag_boton_c_presionado) // LISTO
	  			  {
	  				  velocidad_motor = NORMAL_SPEED;
	  				  DC_MOTOR_Stop(MOTOR_DOSIFICADOR);
	  				  I2C_LCD_Clear(I2C_LCD_1);
	  				  I2C_LCD_SetCursor(I2C_LCD_1, 0, 0);
	  				  I2C_LCD_WriteString(I2C_LCD_1, "Hora actual:");
		  			  I2C_LCD_WriteTime(I2C_LCD_1, displayTime);
	  				  I2C_LCD_SetCursor(I2C_LCD_1, 0, 2);
	  				  I2C_LCD_WriteString(I2C_LCD_1, "A: Configuracion");
	  				  I2C_LCD_SetCursor(I2C_LCD_1, 0, 3);
	  				  I2C_LCD_WriteString(I2C_LCD_1, "B: Agregar comida");
	  				  estado_menu = CONFIGURACION_IDLE;
	  				  estados = ESTADO_IDLE;
	  				  flag_boton_c_presionado = FLAG_INACTIVA;
	  			  }
	  			  break;
	  		  case CONFIGURACION_BALANZA: // LISTO, PERO SE PUEDE AGREGAR UN BOTON D
	  			  if(flag_cambiar_hora) // ES HORRIBLE, PERO ES LO QUE HAY
	  			  {
	  				  I2C_LCD_SetCursor(I2C_LCD_1, 6, 0);
	  				  I2C_LCD_WriteInt32(I2C_LCD_1, HX711_WeighBlocking(&scale) / 1000);
	  				  I2C_LCD_WriteString(I2C_LCD_1, " g    ");
	  				  displayTime = rtcTime;
	  				  flag_cambiar_hora = FLAG_INACTIVA;
	  			  }

	  			  if(flag_boton_a_presionado) // LISTO, PERO NO DEBERIA PISAR EL TARE PERMANENTEMENTE
	  			  {
	  				  scale.tare += 1000;
	  				  I2C_LCD_SetCursor(I2C_LCD_1, 6, 1);
	  				  I2C_LCD_WriteInt32(I2C_LCD_1, scale.tare / 1000);
	  				  I2C_LCD_WriteString(I2C_LCD_1, " g    ");
	  				  flag_boton_a_presionado = FLAG_INACTIVA;
	  			  }

	  			  if(flag_boton_b_presionado) // LISTO, IDEM BOTON A
	  			  {
	  				  scale.tare -= 1000;
	  				  I2C_LCD_SetCursor(I2C_LCD_1, 6, 1);
	  				  I2C_LCD_WriteInt32(I2C_LCD_1, scale.tare / 1000);
	  				  I2C_LCD_WriteString(I2C_LCD_1, " g    ");
	  				  flag_boton_b_presionado = FLAG_INACTIVA;
	  			  }

	  			  if(flag_boton_c_presionado) // LISTO, VER COMENTARIO
	  			  {
	  				  // A FUTURO EL COMMIT A MEMORIA
	  				  I2C_LCD_Clear(I2C_LCD_1);
	  				  I2C_LCD_SetCursor(I2C_LCD_1, 0, 0);
	  				  I2C_LCD_WriteString(I2C_LCD_1, "Hora actual:");
		  			  I2C_LCD_WriteTime(I2C_LCD_1, displayTime);
	  				  I2C_LCD_SetCursor(I2C_LCD_1, 0, 2);
	  				  I2C_LCD_WriteString(I2C_LCD_1, "A: Configuracion");
	  				  I2C_LCD_SetCursor(I2C_LCD_1, 0, 3);
	  				  I2C_LCD_WriteString(I2C_LCD_1, "B: Agregar comida");
	  				  estado_menu = CONFIGURACION_IDLE;
	  				  estados = ESTADO_IDLE;
	  				  flag_boton_c_presionado = FLAG_INACTIVA;
	  			  }

	  			  break;
	  		  case CONFIGURACION_BARRERA_IR:
	  			  break;
	  		  case CONFIGURACION_SERVO:
	  			  if(flag_boton_a_presionado)
	  			  {
	  				  I2C_LCD_SetCursor(I2C_LCD_1, 0, 1);
	  				  I2C_LCD_WriteString(I2C_LCD_1, "Estado: Abierto");
	  				  SERVO_MoveTo(SERVO_PUERTA, SERVO_ABIERTO);
	  				  flag_boton_a_presionado = FLAG_INACTIVA;
	  			  }
	  			  if(flag_boton_b_presionado)
	  			  {
	  				  I2C_LCD_SetCursor(I2C_LCD_1, 0, 1);
	  				  I2C_LCD_WriteString(I2C_LCD_1, "Estado: Cerrado");
	  				  SERVO_MoveTo(SERVO_PUERTA, SERVO_CERRADO);
	  				  flag_boton_b_presionado = FLAG_INACTIVA;
	  			  }
	  			  if(flag_boton_c_presionado)
	  			  {
	  				  displayTime = rtcTime;
	  				  I2C_LCD_Clear(I2C_LCD_1);
	  				  I2C_LCD_SetCursor(I2C_LCD_1, 0, 0);
	  				  I2C_LCD_WriteString(I2C_LCD_1, "Hora actual:");
		  			  I2C_LCD_WriteTime(I2C_LCD_1, displayTime);
	  				  I2C_LCD_SetCursor(I2C_LCD_1, 0, 2);
	  				  I2C_LCD_WriteString(I2C_LCD_1, "A: Configuracion");
	  				  I2C_LCD_SetCursor(I2C_LCD_1, 0, 3);
	  				  I2C_LCD_WriteString(I2C_LCD_1, "B: Agregar comida");
	  				  estado_menu = CONFIGURACION_IDLE;
	  				  estados = ESTADO_IDLE;
	  				  flag_boton_c_presionado = FLAG_INACTIVA;
	  			  }
	  			  break;

	  		  }
	  		  break;
	  	  case ESTADO_DEBUG:
	  		  break;
	  };

  }
  /* USER CODE END 3 */
}

void SystemClock_Config(void)
{
  RCC_OscInitTypeDef RCC_OscInitStruct = {0};
  RCC_ClkInitTypeDef RCC_ClkInitStruct = {0};
  RCC_PeriphCLKInitTypeDef PeriphClkInit = {0};

  /** Initializes the RCC Oscillators according to the specified parameters
  * in the RCC_OscInitTypeDef structure.
  */
  RCC_OscInitStruct.OscillatorType = RCC_OSCILLATORTYPE_LSI|RCC_OSCILLATORTYPE_HSE;
  RCC_OscInitStruct.HSEState = RCC_HSE_ON;
  RCC_OscInitStruct.HSEPredivValue = RCC_HSE_PREDIV_DIV1;
  RCC_OscInitStruct.HSIState = RCC_HSI_ON;
  RCC_OscInitStruct.LSIState = RCC_LSI_ON;
  RCC_OscInitStruct.PLL.PLLState = RCC_PLL_ON;
  RCC_OscInitStruct.PLL.PLLSource = RCC_PLLSOURCE_HSE;
  RCC_OscInitStruct.PLL.PLLMUL = RCC_PLL_MUL2;
  if (HAL_RCC_OscConfig(&RCC_OscInitStruct) != HAL_OK)
  {
    Error_Handler();
  }

  /** Initializes the CPU, AHB and APB buses clocks
  */
  RCC_ClkInitStruct.ClockType = RCC_CLOCKTYPE_HCLK|RCC_CLOCKTYPE_SYSCLK
                              |RCC_CLOCKTYPE_PCLK1|RCC_CLOCKTYPE_PCLK2;
  RCC_ClkInitStruct.SYSCLKSource = RCC_SYSCLKSOURCE_PLLCLK;
  RCC_ClkInitStruct.AHBCLKDivider = RCC_SYSCLK_DIV1;
  RCC_ClkInitStruct.APB1CLKDivider = RCC_HCLK_DIV1;
  RCC_ClkInitStruct.APB2CLKDivider = RCC_HCLK_DIV1;

  if (HAL_RCC_ClockConfig(&RCC_ClkInitStruct, FLASH_LATENCY_0) != HAL_OK)
  {
    Error_Handler();
  }
  PeriphClkInit.PeriphClockSelection = RCC_PERIPHCLK_RTC;
  PeriphClkInit.RTCClockSelection = RCC_RTCCLKSOURCE_LSI;
  if (HAL_RCCEx_PeriphCLKConfig(&PeriphClkInit) != HAL_OK)
  {
    Error_Handler();
  }
}

static void MX_I2C1_Init(void)
{

  hi2c1.Instance = I2C1;
  hi2c1.Init.ClockSpeed = 100000;
  hi2c1.Init.DutyCycle = I2C_DUTYCYCLE_2;
  hi2c1.Init.OwnAddress1 = 0;
  hi2c1.Init.AddressingMode = I2C_ADDRESSINGMODE_7BIT;
  hi2c1.Init.DualAddressMode = I2C_DUALADDRESS_DISABLE;
  hi2c1.Init.OwnAddress2 = 0;
  hi2c1.Init.GeneralCallMode = I2C_GENERALCALL_DISABLE;
  hi2c1.Init.NoStretchMode = I2C_NOSTRETCH_DISABLE;
  if (HAL_I2C_Init(&hi2c1) != HAL_OK)
  {
    Error_Handler();
  }

}

static void MX_RTC_Init(void)
{

  RTC_TimeTypeDef sTime = {0};
  RTC_DateTypeDef DateToUpdate = {0};

  /** Initialize RTC Only
  */
  hrtc.Instance = RTC;
  hrtc.Init.AsynchPrediv = RTC_AUTO_1_SECOND;
  hrtc.Init.OutPut = RTC_OUTPUTSOURCE_ALARM;
  if (HAL_RTC_Init(&hrtc) != HAL_OK)
  {
    Error_Handler();
  }

  /** Initialize RTC and set the Time and Date
  */
  sTime.Hours = 0x0;
  sTime.Minutes = 0x0;
  sTime.Seconds = 0x0;

  if (HAL_RTC_SetTime(&hrtc, &sTime, RTC_FORMAT_BCD) != HAL_OK)
  {
    Error_Handler();
  }
  DateToUpdate.WeekDay = RTC_WEEKDAY_MONDAY;
  DateToUpdate.Month = RTC_MONTH_JANUARY;
  DateToUpdate.Date = 0x1;
  DateToUpdate.Year = 0x0;

  if (HAL_RTC_SetDate(&hrtc, &DateToUpdate, RTC_FORMAT_BCD) != HAL_OK)
  {
    Error_Handler();
  }

}

static void MX_TIM2_Init(void)
{

  TIM_ClockConfigTypeDef sClockSourceConfig = {0};
  TIM_MasterConfigTypeDef sMasterConfig = {0};
  TIM_OC_InitTypeDef sConfigOC = {0};

  htim2.Instance = TIM2;
  htim2.Init.Prescaler = 15;
  htim2.Init.CounterMode = TIM_COUNTERMODE_UP;
  htim2.Init.Period = 65535;
  htim2.Init.ClockDivision = TIM_CLOCKDIVISION_DIV1;
  htim2.Init.AutoReloadPreload = TIM_AUTORELOAD_PRELOAD_DISABLE;
  if (HAL_TIM_Base_Init(&htim2) != HAL_OK)
  {
    Error_Handler();
  }
  sClockSourceConfig.ClockSource = TIM_CLOCKSOURCE_INTERNAL;
  if (HAL_TIM_ConfigClockSource(&htim2, &sClockSourceConfig) != HAL_OK)
  {
    Error_Handler();
  }
  if (HAL_TIM_PWM_Init(&htim2) != HAL_OK)
  {
    Error_Handler();
  }
  sMasterConfig.MasterOutputTrigger = TIM_TRGO_RESET;
  sMasterConfig.MasterSlaveMode = TIM_MASTERSLAVEMODE_DISABLE;
  if (HAL_TIMEx_MasterConfigSynchronization(&htim2, &sMasterConfig) != HAL_OK)
  {
    Error_Handler();
  }
  sConfigOC.OCMode = TIM_OCMODE_PWM1;
  sConfigOC.Pulse = 0;
  sConfigOC.OCPolarity = TIM_OCPOLARITY_HIGH;
  sConfigOC.OCFastMode = TIM_OCFAST_DISABLE;
  if (HAL_TIM_PWM_ConfigChannel(&htim2, &sConfigOC, TIM_CHANNEL_1) != HAL_OK)
  {
    Error_Handler();
  }
  if (HAL_TIM_PWM_ConfigChannel(&htim2, &sConfigOC, TIM_CHANNEL_2) != HAL_OK)
  {
    Error_Handler();
  }
  HAL_TIM_MspPostInit(&htim2);

}

static void MX_TIM3_Init(void)
{

  TIM_MasterConfigTypeDef sMasterConfig = {0};
  TIM_OC_InitTypeDef sConfigOC = {0};

  htim3.Instance = TIM3;
  htim3.Init.Prescaler = 15;
  htim3.Init.CounterMode = TIM_COUNTERMODE_UP;
  htim3.Init.Period = 65535;
  htim3.Init.ClockDivision = TIM_CLOCKDIVISION_DIV1;
  htim3.Init.AutoReloadPreload = TIM_AUTORELOAD_PRELOAD_DISABLE;
  if (HAL_TIM_PWM_Init(&htim3) != HAL_OK)
  {
    Error_Handler();
  }
  sMasterConfig.MasterOutputTrigger = TIM_TRGO_RESET;
  sMasterConfig.MasterSlaveMode = TIM_MASTERSLAVEMODE_DISABLE;
  if (HAL_TIMEx_MasterConfigSynchronization(&htim3, &sMasterConfig) != HAL_OK)
  {
    Error_Handler();
  }
  sConfigOC.OCMode = TIM_OCMODE_PWM1;
  sConfigOC.Pulse = 0;
  sConfigOC.OCPolarity = TIM_OCPOLARITY_HIGH;
  sConfigOC.OCFastMode = TIM_OCFAST_DISABLE;
  if (HAL_TIM_PWM_ConfigChannel(&htim3, &sConfigOC, TIM_CHANNEL_1) != HAL_OK)
  {
    Error_Handler();
  }
  HAL_TIM_MspPostInit(&htim3);

}

static void MX_GPIO_Init(void)
{
  GPIO_InitTypeDef GPIO_InitStruct = {0};

  /* GPIO Ports Clock Enable */
  __HAL_RCC_GPIOD_CLK_ENABLE();
  __HAL_RCC_GPIOA_CLK_ENABLE();
  __HAL_RCC_GPIOB_CLK_ENABLE();

  /*Configure GPIO pin Output Level */
  HAL_GPIO_WritePin(GPIOB, GPIO_PIN_14|GPIO_PIN_15|HX711_SCK_Pin, GPIO_PIN_RESET);

  /*Configure GPIO pins : PB14 PB15 HX711_SCK_Pin */
  GPIO_InitStruct.Pin = GPIO_PIN_14|GPIO_PIN_15|HX711_SCK_Pin;
  GPIO_InitStruct.Mode = GPIO_MODE_OUTPUT_PP;
  GPIO_InitStruct.Pull = GPIO_NOPULL;
  GPIO_InitStruct.Speed = GPIO_SPEED_FREQ_LOW;
  HAL_GPIO_Init(GPIOB, &GPIO_InitStruct);

  /*Configure GPIO pins : EXTI8_BOTON_A_Pin EXTI9_BOTON_B_Pin */
  GPIO_InitStruct.Pin = EXTI8_BOTON_A_Pin|EXTI9_BOTON_B_Pin;
  GPIO_InitStruct.Mode = GPIO_MODE_IT_FALLING;
  GPIO_InitStruct.Pull = GPIO_NOPULL;
  HAL_GPIO_Init(GPIOA, &GPIO_InitStruct);

  /*Configure GPIO pins : EXTI10_BOTON_C_Pin EXTI11_BOTON_D_Pin */
  GPIO_InitStruct.Pin = EXTI10_BOTON_C_Pin|EXTI11_BOTON_D_Pin;
  GPIO_InitStruct.Mode = GPIO_MODE_IT_RISING;
  GPIO_InitStruct.Pull = GPIO_NOPULL;
  HAL_GPIO_Init(GPIOA, &GPIO_InitStruct);

  /*Configure GPIO pin : HX711_DT_Pin */
  GPIO_InitStruct.Pin = HX711_DT_Pin;
  GPIO_InitStruct.Mode = GPIO_MODE_INPUT;
  GPIO_InitStruct.Pull = GPIO_NOPULL;
  HAL_GPIO_Init(HX711_DT_GPIO_Port, &GPIO_InitStruct);

  /* EXTI interrupt init*/
  HAL_NVIC_SetPriority(EXTI9_5_IRQn, 1, 0);
  HAL_NVIC_EnableIRQ(EXTI9_5_IRQn);

  HAL_NVIC_SetPriority(EXTI15_10_IRQn, 1, 0);
  HAL_NVIC_EnableIRQ(EXTI15_10_IRQn);

}

/* USER CODE BEGIN 4 */

void HAL_GPIO_EXTI_Callback(uint16_t GPIO_Pin) {
    if (GPIO_Pin == EXTI8_BOTON_A_Pin) {
    	Boton_EXTI_Callback(&hbA);
    }
    if(GPIO_Pin == EXTI9_BOTON_B_Pin)
    {
    	Boton_EXTI_Callback(&hbB);
    }
    if(GPIO_Pin == EXTI10_BOTON_C_Pin)
    {
    	Boton_EXTI_Callback(&hbC);
    }
    if(GPIO_Pin == EXTI11_BOTON_D_Pin)
    {
    	Boton_EXTI_Callback(&hbD);
    }
}

void HAL_RTC_AlarmAEventCallback(RTC_HandleTypeDef *hrtc)
{
	flag_alarma_activada = FLAG_ACTIVA;
}

/* USER CODE END 4 */

void Error_Handler(void)
{
  __disable_irq();
  while (1)
  {
  }
}
